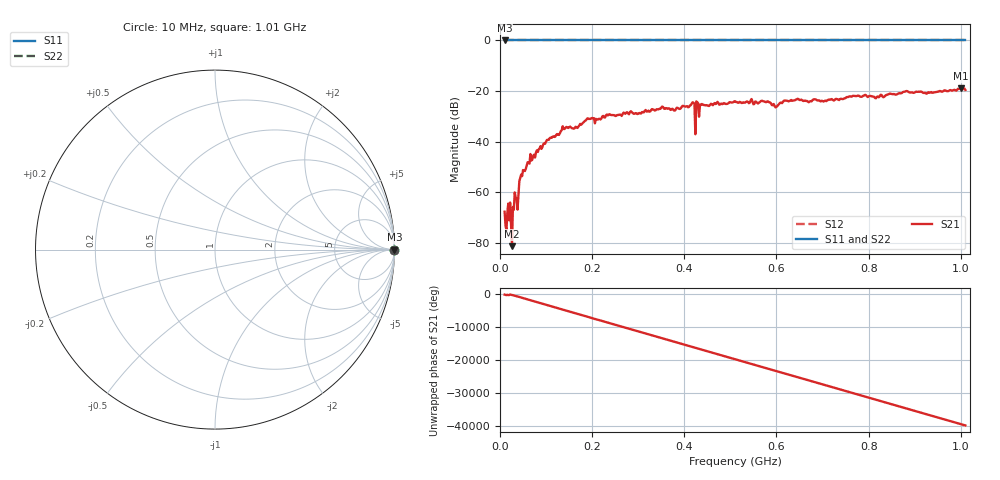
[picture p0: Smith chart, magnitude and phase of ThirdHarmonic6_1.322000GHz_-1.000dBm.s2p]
! 8/16/2025 2:42:47 PM
! C:\ANRITSUVNA\TEMP\TEMP.S2P
! CHANNEL.1
! TR.MEASUREMENT
! RAW.DATA
! RF.CORRECTION.OFF
! AVERAGING.OFF
! IF.BANDWIDTH: 5KHZ
! SWEEPTYPE:  FREQ.SWEEP(Linear)
! Reference Plane Port Info
! PORT:  PORT1  PORT2
! DISTANCE:  0  m  0  m
! TIME:  0  s  0  s
! PHASE.OFFSET:  0  deg.  0  deg.
! LOSS:  0  dB  0  dB
! REF.LOSS:  0  dB  0  dB
! REF.FREQ:  0  Hz  0  Hz
! Power Info
! POWER:  -20  dBm  -20  dBm
! EFF.POWER:  -20  dBm  -20  dBm
! SOURCE.ATTEN:  0  dB  0  dB
! TEST.ATTEN:  0  dB  0  dB
# GHZ S RI R 50.0
! FREQ.GHZ  S11RE  S11IM  S21RE  S21IM  S12RE  S12IM  S22RE  S22IM
!; PortSelection: Port_12
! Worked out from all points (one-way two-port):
!   501 points, 10 MHz to 1.01 GHz, reference 50 ohm
!   highest |S21| = -18.82 dB at 1 GHz (marker M1); lowest = -81.2 dB at 26 MHz (marker M2)
!   lowest |S11| = 0.0 dB at 10 MHz (marker M3)
!   |S11| at or under -10 dB: nowhere
!   |S22| runs from 0.0 to 0.0 dB; largest |S21 - S12| = 1.1
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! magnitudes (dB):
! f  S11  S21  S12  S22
! 10 MHz  0.0  -67.6  0.0  0.0
! 20 MHz  0.0  -71.0  0.0  0.0
! 22 MHz  0.0  -64.0  0.0  0.0
! 26 MHz  0.0  -81.2  0.0  0.0
! 40 MHz  0.0  -60.8  0.0  0.0
! 46 MHz  0.0  -52.9  0.0  0.0
! 62 MHz  0.0  -48.3  0.0  0.0
! 138 MHz  0.0  -35.0  0.0  0.0
! 178 MHz  0.0  -33.0  0.0  0.0
! 344 MHz  0.0  -27.2  0.0  0.0
! 418 MHz  0.0  -24.4  0.0  0.0
! 420 MHz  0.0  -24.6  0.0  0.0
! 428 MHz  0.0  -24.3  0.0  0.0
! 430 MHz  0.0  -24.8  0.0  0.0
! 438 MHz  0.0  -25.1  0.0  0.0
! 510 MHz  0.0  -24.0  0.0  0.0
! 600 MHz  0.0  -26.2  0.0  0.0
! 620 MHz  0.0  -23.7  0.0  0.0
! 678 MHz  0.0  -23.6  0.0  0.0
! 844 MHz  0.0  -21.1  0.0  0.0
! 1 GHz  0.0  -18.8  0.0  0.0
! 1.01 GHz  0.0  -19.6  0.0  0.0
